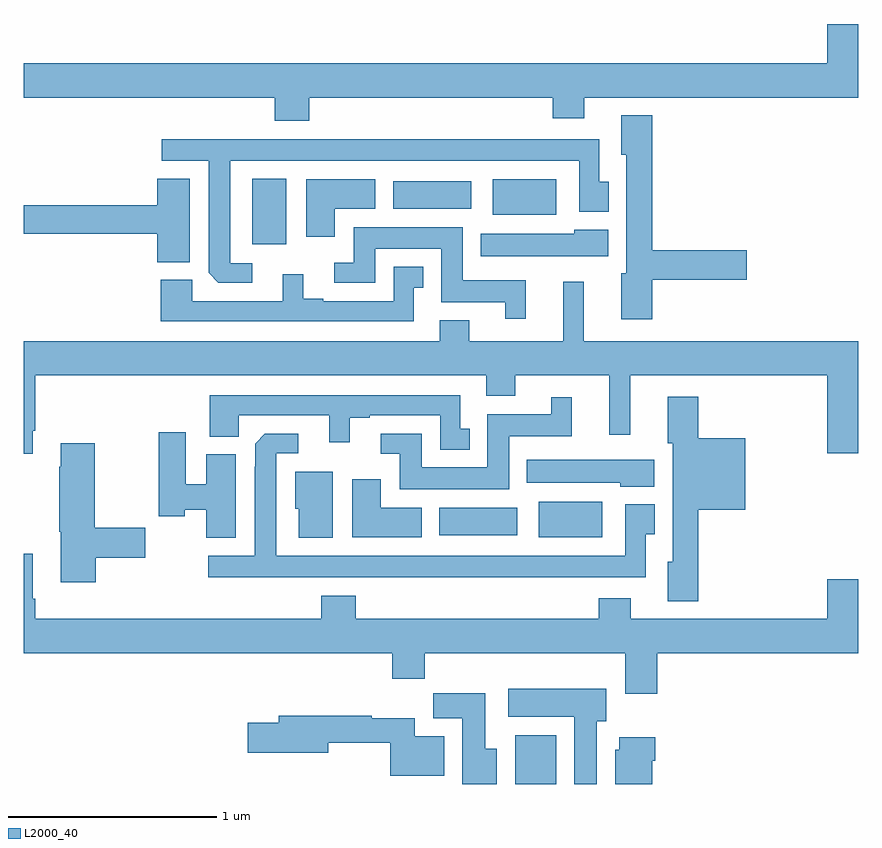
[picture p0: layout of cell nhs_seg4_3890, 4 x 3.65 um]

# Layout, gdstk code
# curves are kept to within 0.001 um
import gdstk
lib = gdstk.Library(unit=1e-6, precision=1e-09)
def R(c, l, rs):  # rectangles x0, y0, x1, y1
    for r in rs: c.add(gdstk.rectangle(r[:2], r[2:], *l))
def P(c, l, *ps):  # polygons
    for p in ps: c.add(gdstk.Polygon(p, *l))
L2000_40 = (2000, 40)

nhs_seg4_3890 = lib.new_cell('nhs_seg4_3890')
R(nhs_seg4_3890, L2000_40, [(319.355,754.9,319.552,755.134), (319.469,756.083,319.774,756.253), (318.992,756.092,319.366,756.226), (318.095,757.488,318.259,757.804), (319.247,757.631,319.552,757.801), (318.77,757.658,319.144,757.792)])
P(nhs_seg4_3890, L2000_40, [(317,758.192),(318.203,758.192),(318.203,758.081),(318.368,758.081),(318.368,758.192),(319.535,758.192),(319.535,758.093),(319.687,758.093),(319.687,758.192),(321,758.192),(321,758.545),(320.852,758.545),(320.852,758.356),(317,758.356)],
  [(320.012,757.318),(320.467,757.318),(320.467,757.46),(320.012,757.46),(320.012,758.107),(319.865,758.107),(319.865,757.917),(319.889,757.917),(319.889,757.35),(319.865,757.35),(319.865,757.128),(320.012,757.128)],
  [(318.094,757.398),(317.989,757.398),(317.989,757.889),(319.662,757.889),(319.662,757.644),(319.804,757.644),(319.804,757.788),(319.759,757.788),(319.759,757.993),(317.661,757.993),(317.661,757.889),(317.885,757.889),(317.886,757.351),(317.932,757.305),(318.094,757.305)],
  [(317.794,757.804),(317.639,757.804),(317.639,757.676),(317,757.676),(317,757.54),(317.639,757.54),(317.639,757.403),(317.794,757.403)],
  [(318.49,757.658),(318.685,757.658),(318.685,757.801),(318.353,757.801),(318.353,757.524),(318.49,757.524)],
  [(319.406,757.315),(319.105,757.315),(319.105,757.57),(318.581,757.57),(318.581,757.401),(318.489,757.401),(318.489,757.305),(318.685,757.305),(318.685,757.466),(319.001,757.466),(319.001,757.211),(319.307,757.211),(319.307,757.131),(319.406,757.131)],
  [(319.801,757.558),(319.638,757.558),(319.638,757.54),(319.19,757.54),(319.19,757.43),(319.801,757.43)],
  [(318.87,757.281),(318.916,757.281),(318.916,757.381),(318.774,757.381),(318.774,757.215),(318.436,757.215),(318.436,757.228),(318.34,757.228),(318.34,757.345),(318.242,757.345),(318.242,757.215),(317.808,757.215),(317.808,757.318),(317.657,757.318),(317.657,757.119),(318.87,757.119)],
  [(317.041,756.595),(317.054,756.595),(317.054,756.86),(319.217,756.86),(319.217,756.761),(319.357,756.761),(319.357,756.86),(319.808,756.86),(319.808,756.576),(319.907,756.576),(319.907,756.86),(320.852,756.86),(320.852,756.486),(321,756.486),(321,757.024),(319.685,757.024),(319.685,757.309),(319.586,757.309),(319.586,757.024),(319.135,757.024),(319.135,757.123),(318.995,757.123),(318.995,757.024),(317,757.024),(317,756.483),(317.041,756.483)],
  [(319.138,756.603),(319.092,756.603),(319.092,756.765),(317.891,756.765),(317.891,756.566),(318.03,756.566),(318.03,756.669),(318.464,756.669),(318.464,756.54),(318.562,756.54),(318.562,756.657),(318.658,756.657),(318.658,756.669),(318.996,756.669),(318.996,756.503),(319.138,756.503)],
  [(320.234,756.215),(320.458,756.215),(320.458,756.559),(320.234,756.559),(320.234,756.757),(320.087,756.757),(320.087,756.534),(320.111,756.534),(320.111,755.967),(320.087,755.967),(320.087,755.777),(320.234,755.777)],
  [(319.327,756.569),(319.628,756.569),(319.628,756.754),(319.529,756.754),(319.529,756.673),(319.223,756.673),(319.223,756.418),(318.907,756.418),(318.907,756.579),(318.711,756.579),(318.711,756.483),(318.803,756.483),(318.803,756.314),(319.327,756.314)],
  [(318.016,756.481),(317.873,756.481),(317.873,756.337),(317.776,756.337),(317.776,756.586),(317.647,756.586),(317.647,756.185),(317.772,756.185),(317.772,756.215),(317.873,756.215),(317.873,756.08),(318.016,756.08)],
  [(319.981,756.097),(320.026,756.097),(320.026,756.241),(319.884,756.241),(319.884,755.995),(318.211,755.995),(318.211,756.486),(318.316,756.486),(318.316,756.579),(318.154,756.579),(318.108,756.533),(318.107,755.995),(317.883,755.995),(317.883,755.891),(319.981,755.891)],
  [(317.345,755.986),(317.581,755.986),(317.581,756.128),(317.34,756.128),(317.34,756.535),(317.177,756.535),(317.177,756.422),(317.17,756.422),(317.17,756.111),(317.177,756.111),(317.177,755.868),(317.345,755.868)],
  [(320.023,756.454),(319.412,756.454),(319.412,756.344),(319.86,756.344),(319.86,756.326),(320.023,756.326)],
  [(318.481,756.397),(318.302,756.397),(318.302,756.219),(318.317,756.219),(318.317,756.08),(318.481,756.08)],
  [(318.907,756.226),(318.712,756.226),(318.712,756.361),(318.575,756.361),(318.575,756.083),(318.907,756.083)],
  [(320.036,755.528),(321,755.528),(321,755.881),(320.852,755.881),(320.852,755.692),(319.909,755.692),(319.909,755.791),(319.757,755.791),(319.757,755.692),(318.59,755.692),(318.59,755.803),(318.425,755.803),(318.425,755.692),(317.054,755.692),(317.054,755.788),(317.041,755.788),(317.041,756.004),(317,756.004),(317,755.528),(318.767,755.528),(318.767,755.404),(318.923,755.404),(318.923,755.528),(319.883,755.528),(319.883,755.334),(320.036,755.334)],
  [(319.747,755.202),(319.792,755.202),(319.792,755.356),(319.323,755.356),(319.323,755.222),(319.64,755.222),(319.64,754.9),(319.747,754.9)],
  [(319.267,755.068),(319.213,755.068),(319.213,755.335),(318.964,755.335),(318.964,755.216),(319.103,755.216),(319.103,754.9),(319.267,754.9)],
  [(319.015,755.128),(318.874,755.128),(318.874,755.216),(318.668,755.216),(318.668,755.227),(318.221,755.227),(318.221,755.193),(318.072,755.193),(318.072,755.051),(318.46,755.051),(318.46,755.098),(318.757,755.098),(318.757,754.94),(319.015,754.94)],
  [(320.014,755.012),(320.027,755.012),(320.027,755.125),(319.856,755.125),(319.856,755.064),(319.835,755.064),(319.835,754.9),(320.014,754.9)])

lib.write_gds('nhs_seg4_3890.gds')
